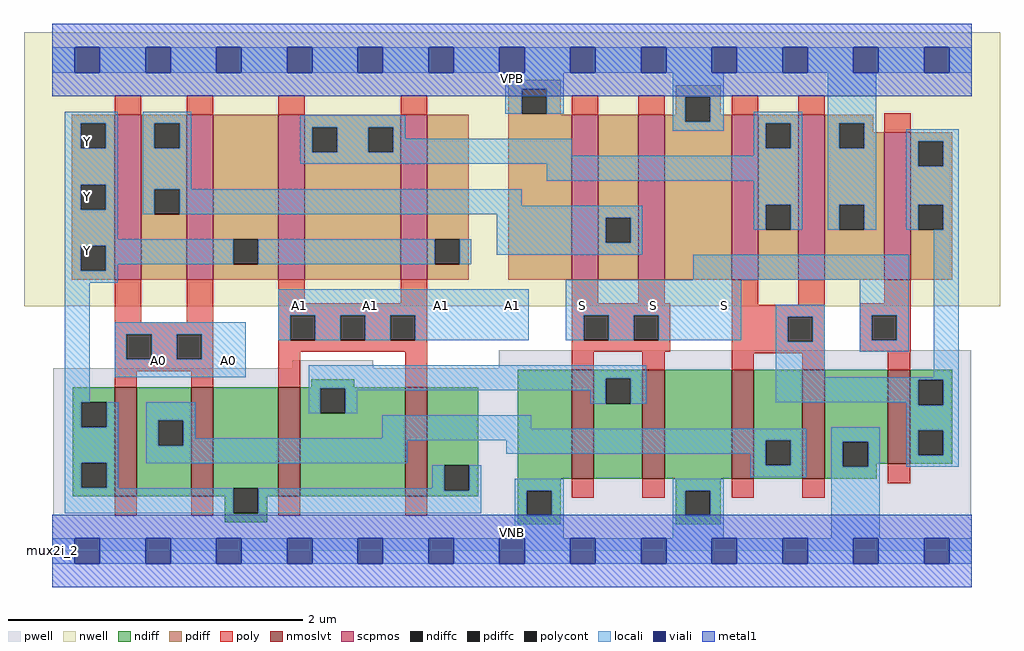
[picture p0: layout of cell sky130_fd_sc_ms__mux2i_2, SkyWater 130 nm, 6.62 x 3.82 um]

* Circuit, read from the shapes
.subckt sky130_fd_sc_ms__mux2i_2 A0 A1 S VGND VNB VPB VPWR Y
XM1 n1 A0 Y VNB sky130_fd_pr__nfet_01v8_lvt w=0.74 l=0.15 m=2
XM2 n2 A1 Y VNB sky130_fd_pr__nfet_01v8_lvt w=0.74 l=0.15 m=2
XM3 n2 S VGND VNB sky130_fd_pr__nfet_01v8_lvt w=0.74 l=0.15 m=2
XM4 n1 n3 VGND VNB sky130_fd_pr__nfet_01v8_lvt w=0.74 l=0.15 m=2
XM5 n3 S VGND VNB sky130_fd_pr__nfet_01v8_lvt w=0.64 l=0.15
XM6 n4 A0 Y VPB sky130_fd_pr__pfet_01v8 w=1.12 l=0.18 m=2
XM7 n5 A1 Y VPB sky130_fd_pr__pfet_01v8 w=1.12 l=0.18 m=2
XM8 n4 S VPWR VPB sky130_fd_pr__pfet_01v8 w=1.12 l=0.18 m=2
XM9 n5 n3 VPWR VPB sky130_fd_pr__pfet_01v8 w=1.12 l=0.18 m=2
XM10 n3 S VPWR VPB sky130_fd_pr__pfet_01v8 w=1 l=0.18
.ends

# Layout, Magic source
magic
tech sky130A
magscale 1 2
<< nwell >>
rect -38 332 1286 704
<< pwell >>
rect 326 248 436 259
rect 606 248 1247 272
rect 2 49 1247 248
rect 0 0 1248 49
<< scpmos >>
rect 85 368 121 592
rect 183 368 219 592
rect 307 368 343 592
rect 473 368 509 592
rect 705 368 741 592
rect 795 368 831 592
rect 922 368 958 592
rect 1012 368 1048 592
rect 1129 368 1165 568
<< nmoslvt >>
rect 85 74 115 222
rect 189 74 219 222
rect 307 74 337 222
rect 479 74 509 222
rect 705 98 735 246
rect 801 98 831 246
rect 922 98 952 246
rect 1018 98 1048 246
rect 1134 118 1164 246
<< ndiff >>
rect 352 222 410 233
rect 28 202 85 222
rect 28 168 40 202
rect 74 168 85 202
rect 28 120 85 168
rect 28 86 40 120
rect 74 86 85 120
rect 28 74 85 86
rect 115 177 189 222
rect 115 143 144 177
rect 178 143 189 177
rect 115 74 189 143
rect 219 85 307 222
rect 219 74 246 85
rect 234 51 246 74
rect 280 74 307 85
rect 337 221 479 222
rect 337 187 364 221
rect 398 187 479 221
rect 337 74 479 187
rect 509 116 578 222
rect 509 82 532 116
rect 566 82 578 116
rect 509 74 578 82
rect 632 98 705 246
rect 735 234 801 246
rect 735 200 751 234
rect 785 200 801 234
rect 735 98 801 200
rect 831 98 922 246
rect 952 150 1018 246
rect 952 116 968 150
rect 1002 116 1018 150
rect 952 98 1018 116
rect 1048 148 1134 246
rect 1048 114 1073 148
rect 1107 118 1134 148
rect 1164 232 1221 246
rect 1164 198 1175 232
rect 1209 198 1221 232
rect 1164 164 1221 198
rect 1164 130 1175 164
rect 1209 130 1221 164
rect 1164 118 1221 130
rect 1107 114 1119 118
rect 1048 98 1119 114
rect 632 82 690 98
rect 280 51 292 74
rect 234 39 292 51
rect 632 48 644 82
rect 678 48 690 82
rect 846 82 907 98
rect 632 36 690 48
rect 846 48 859 82
rect 893 48 907 82
rect 846 36 907 48
<< pdiff >>
rect 619 627 690 639
rect 619 593 637 627
rect 671 593 690 627
rect 619 592 690 593
rect 846 616 907 632
rect 846 592 859 616
rect 27 580 85 592
rect 27 546 39 580
rect 73 546 85 580
rect 27 497 85 546
rect 27 463 39 497
rect 73 463 85 497
rect 27 414 85 463
rect 27 380 39 414
rect 73 380 85 414
rect 27 368 85 380
rect 121 580 183 592
rect 121 546 139 580
rect 173 546 183 580
rect 121 491 183 546
rect 121 457 139 491
rect 173 457 183 491
rect 121 368 183 457
rect 219 423 307 592
rect 219 389 246 423
rect 280 389 307 423
rect 219 368 307 389
rect 343 575 473 592
rect 343 541 353 575
rect 387 541 429 575
rect 463 541 473 575
rect 343 368 473 541
rect 509 423 565 592
rect 509 389 519 423
rect 553 389 565 423
rect 509 368 565 389
rect 619 368 705 592
rect 741 452 795 592
rect 741 418 751 452
rect 785 418 795 452
rect 741 368 795 418
rect 831 582 859 592
rect 893 592 907 616
rect 893 582 922 592
rect 831 368 922 582
rect 958 580 1012 592
rect 958 546 968 580
rect 1002 546 1012 580
rect 958 470 1012 546
rect 958 436 968 470
rect 1002 436 1012 470
rect 958 368 1012 436
rect 1048 580 1114 592
rect 1048 546 1068 580
rect 1102 568 1114 580
rect 1102 546 1129 568
rect 1048 470 1129 546
rect 1048 436 1068 470
rect 1102 436 1129 470
rect 1048 368 1129 436
rect 1165 556 1221 568
rect 1165 522 1175 556
rect 1209 522 1221 556
rect 1165 470 1221 522
rect 1165 436 1175 470
rect 1209 436 1221 470
rect 1165 368 1221 436
<< ndiffc >>
rect 40 168 74 202
rect 40 86 74 120
rect 144 143 178 177
rect 246 51 280 85
rect 364 187 398 221
rect 532 82 566 116
rect 751 200 785 234
rect 968 116 1002 150
rect 1073 114 1107 148
rect 1175 198 1209 232
rect 1175 130 1209 164
rect 644 48 678 82
rect 859 48 893 82
<< pdiffc >>
rect 637 593 671 627
rect 39 546 73 580
rect 39 463 73 497
rect 39 380 73 414
rect 139 546 173 580
rect 139 457 173 491
rect 246 389 280 423
rect 353 541 387 575
rect 429 541 463 575
rect 519 389 553 423
rect 751 418 785 452
rect 859 582 893 616
rect 968 546 1002 580
rect 968 436 1002 470
rect 1068 546 1102 580
rect 1068 436 1102 470
rect 1175 522 1209 556
rect 1175 436 1209 470
<< poly >>
rect 85 592 121 618
rect 183 592 219 618
rect 307 592 343 618
rect 473 592 509 618
rect 705 592 741 618
rect 795 592 831 618
rect 922 592 958 618
rect 1012 592 1048 618
rect 1129 568 1165 594
rect 85 310 121 368
rect 183 310 219 368
rect 85 294 219 310
rect 85 260 101 294
rect 135 260 169 294
rect 203 260 219 294
rect 85 244 219 260
rect 85 222 115 244
rect 189 222 219 244
rect 307 336 343 368
rect 473 336 509 368
rect 307 320 509 336
rect 307 286 323 320
rect 357 286 391 320
rect 425 286 459 320
rect 493 286 509 320
rect 307 270 509 286
rect 307 222 337 270
rect 479 222 509 270
rect 705 336 741 368
rect 795 336 831 368
rect 705 320 839 336
rect 705 286 721 320
rect 755 286 789 320
rect 823 286 839 320
rect 705 270 839 286
rect 922 334 958 368
rect 1012 334 1048 368
rect 1129 336 1165 368
rect 922 318 1048 334
rect 922 284 998 318
rect 1032 284 1048 318
rect 705 246 735 270
rect 801 246 831 270
rect 922 268 1048 284
rect 1096 320 1165 336
rect 1096 286 1112 320
rect 1146 286 1165 320
rect 1096 270 1165 286
rect 922 246 952 268
rect 1018 246 1048 268
rect 1134 246 1164 270
rect 85 48 115 74
rect 189 48 219 74
rect 307 48 337 74
rect 479 48 509 74
rect 705 72 735 98
rect 801 72 831 98
rect 922 72 952 98
rect 1018 72 1048 98
rect 1134 92 1164 118
<< polycont >>
rect 101 260 135 294
rect 169 260 203 294
rect 323 286 357 320
rect 391 286 425 320
rect 459 286 493 320
rect 721 286 755 320
rect 789 286 823 320
rect 998 284 1032 318
rect 1112 286 1146 320
<< locali >>
rect 0 649 31 683
rect 65 649 127 683
rect 161 649 223 683
rect 257 649 319 683
rect 353 649 415 683
rect 449 649 511 683
rect 545 649 607 683
rect 641 649 703 683
rect 737 649 799 683
rect 833 649 895 683
rect 929 649 991 683
rect 1025 649 1087 683
rect 1121 649 1183 683
rect 1217 649 1248 683
rect 615 627 694 649
rect 17 580 89 596
rect 17 546 39 580
rect 73 546 89 580
rect 17 497 89 546
rect 17 463 39 497
rect 73 463 89 497
rect 17 423 89 463
rect 123 580 189 596
rect 615 593 637 627
rect 671 593 694 627
rect 842 616 911 649
rect 123 546 139 580
rect 173 546 189 580
rect 123 491 189 546
rect 337 575 479 591
rect 337 541 353 575
rect 387 541 429 575
rect 463 559 479 575
rect 842 582 859 616
rect 893 582 911 616
rect 842 570 911 582
rect 952 580 1018 596
rect 463 541 705 559
rect 337 536 705 541
rect 952 546 968 580
rect 1002 546 1018 580
rect 952 536 1018 546
rect 337 525 1018 536
rect 671 502 1018 525
rect 123 457 139 491
rect 173 468 637 491
rect 952 470 1018 502
rect 173 457 801 468
rect 603 452 801 457
rect 17 414 246 423
rect 17 380 39 414
rect 73 389 246 414
rect 280 389 519 423
rect 553 389 569 423
rect 603 418 751 452
rect 785 418 801 452
rect 952 436 968 470
rect 1002 436 1018 470
rect 1052 580 1118 649
rect 1052 546 1068 580
rect 1102 546 1118 580
rect 1052 470 1118 546
rect 1052 436 1068 470
rect 1102 436 1118 470
rect 1159 556 1230 572
rect 1159 522 1175 556
rect 1209 522 1230 556
rect 1159 470 1230 522
rect 1159 436 1175 470
rect 1209 436 1230 470
rect 603 402 801 418
rect 73 380 89 389
rect 17 364 89 380
rect 870 368 1162 402
rect 17 202 51 364
rect 307 320 647 355
rect 85 294 263 310
rect 85 260 101 294
rect 135 260 169 294
rect 203 260 263 294
rect 307 286 323 320
rect 357 286 391 320
rect 425 286 459 320
rect 493 286 647 320
rect 697 320 935 368
rect 697 286 721 320
rect 755 286 789 320
rect 823 286 935 320
rect 982 318 1048 334
rect 85 236 263 260
rect 982 284 998 318
rect 1032 284 1048 318
rect 348 234 806 252
rect 348 221 751 234
rect 17 168 40 202
rect 74 168 90 202
rect 17 120 90 168
rect 17 86 40 120
rect 74 86 90 120
rect 128 177 194 202
rect 348 187 364 221
rect 398 218 751 221
rect 398 187 414 218
rect 730 200 751 218
rect 785 200 806 234
rect 982 236 1048 284
rect 1096 320 1162 368
rect 1096 286 1112 320
rect 1146 286 1162 320
rect 1096 270 1162 286
rect 1196 236 1230 436
rect 982 232 1230 236
rect 982 202 1175 232
rect 1159 198 1175 202
rect 1209 198 1230 232
rect 128 143 144 177
rect 178 153 194 177
rect 448 166 650 184
rect 448 153 1023 166
rect 178 150 1023 153
rect 178 143 482 150
rect 128 119 482 143
rect 616 132 968 150
rect 947 116 968 132
rect 1002 116 1023 150
rect 17 85 90 86
rect 516 85 532 116
rect 17 51 246 85
rect 280 82 532 85
rect 566 82 582 116
rect 947 100 1023 116
rect 1057 148 1123 168
rect 1057 114 1073 148
rect 1107 114 1123 148
rect 1159 164 1230 198
rect 1159 130 1175 164
rect 1209 130 1230 164
rect 1159 114 1230 130
rect 280 51 582 82
rect 628 82 694 98
rect 628 48 644 82
rect 678 48 694 82
rect 628 17 694 48
rect 842 82 911 98
rect 842 48 859 82
rect 893 48 911 82
rect 842 17 911 48
rect 1057 17 1123 114
rect 0 -17 31 17
rect 65 -17 127 17
rect 161 -17 223 17
rect 257 -17 319 17
rect 353 -17 415 17
rect 449 -17 511 17
rect 545 -17 607 17
rect 641 -17 703 17
rect 737 -17 799 17
rect 833 -17 895 17
rect 929 -17 991 17
rect 1025 -17 1087 17
rect 1121 -17 1183 17
rect 1217 -17 1248 17
<< viali >>
rect 31 649 65 683
rect 127 649 161 683
rect 223 649 257 683
rect 319 649 353 683
rect 415 649 449 683
rect 511 649 545 683
rect 607 649 641 683
rect 703 649 737 683
rect 799 649 833 683
rect 895 649 929 683
rect 991 649 1025 683
rect 1087 649 1121 683
rect 1183 649 1217 683
rect 31 -17 65 17
rect 127 -17 161 17
rect 223 -17 257 17
rect 319 -17 353 17
rect 415 -17 449 17
rect 511 -17 545 17
rect 607 -17 641 17
rect 703 -17 737 17
rect 799 -17 833 17
rect 895 -17 929 17
rect 991 -17 1025 17
rect 1087 -17 1121 17
rect 1183 -17 1217 17
<< metal1 >>
rect 0 683 1248 715
rect 0 649 31 683
rect 65 649 127 683
rect 161 649 223 683
rect 257 649 319 683
rect 353 649 415 683
rect 449 649 511 683
rect 545 649 607 683
rect 641 649 703 683
rect 737 649 799 683
rect 833 649 895 683
rect 929 649 991 683
rect 1025 649 1087 683
rect 1121 649 1183 683
rect 1217 649 1248 683
rect 0 617 1248 649
rect 0 17 1248 49
rect 0 -17 31 17
rect 65 -17 127 17
rect 161 -17 223 17
rect 257 -17 319 17
rect 353 -17 415 17
rect 449 -17 511 17
rect 545 -17 607 17
rect 641 -17 703 17
rect 737 -17 799 17
rect 833 -17 895 17
rect 929 -17 991 17
rect 1025 -17 1087 17
rect 1121 -17 1183 17
rect 1217 -17 1248 17
rect 0 -49 1248 -17
<< labels >>
flabel pwell s 0 0 1248 49 0 FreeSans 200 0 0 0 VNB
port 5 nsew ground bidirectional
flabel nwell s 0 617 1248 666 0 FreeSans 200 0 0 0 VPB
port 6 nsew power bidirectional
rlabel comment s 0 0 0 0 4 mux2i_2
flabel metal1 s 0 617 1248 666 0 FreeSans 340 0 0 0 VPWR
port 7 nsew power bidirectional
flabel metal1 s 0 0 1248 49 0 FreeSans 340 0 0 0 VGND
port 4 nsew ground bidirectional
flabel locali s 127 242 161 276 0 FreeSans 340 0 0 0 A0
port 1 nsew signal input
flabel locali s 223 242 257 276 0 FreeSans 340 0 0 0 A0
port 1 nsew signal input
flabel locali s 31 390 65 424 0 FreeSans 340 0 0 0 Y
port 8 nsew signal output
flabel locali s 31 464 65 498 0 FreeSans 340 0 0 0 Y
port 8 nsew signal output
flabel locali s 31 538 65 572 0 FreeSans 340 0 0 0 Y
port 8 nsew signal output
flabel locali s 703 316 737 350 0 FreeSans 340 0 0 0 S
port 3 nsew signal input
flabel locali s 799 316 833 350 0 FreeSans 340 0 0 0 S
port 3 nsew signal input
flabel locali s 895 316 929 350 0 FreeSans 340 0 0 0 S
port 3 nsew signal input
flabel locali s 319 316 353 350 0 FreeSans 340 0 0 0 A1
port 2 nsew signal input
flabel locali s 415 316 449 350 0 FreeSans 340 0 0 0 A1
port 2 nsew signal input
flabel locali s 511 316 545 350 0 FreeSans 340 0 0 0 A1
port 2 nsew signal input
flabel locali s 607 316 641 350 0 FreeSans 340 0 0 0 A1
port 2 nsew signal input
<< properties >>
string LEFsite unit
string LEFclass CORE
string FIXED_BBOX 0 0 1248 666
string GDS_FILE $PDKPATH/libs.ref/sky130_fd_sc_ms/gds/sky130_fd_sc_ms.gds
string LEFsymmetry X Y
string GDS_END 1824034
string GDS_START 1814444
<< end >>
